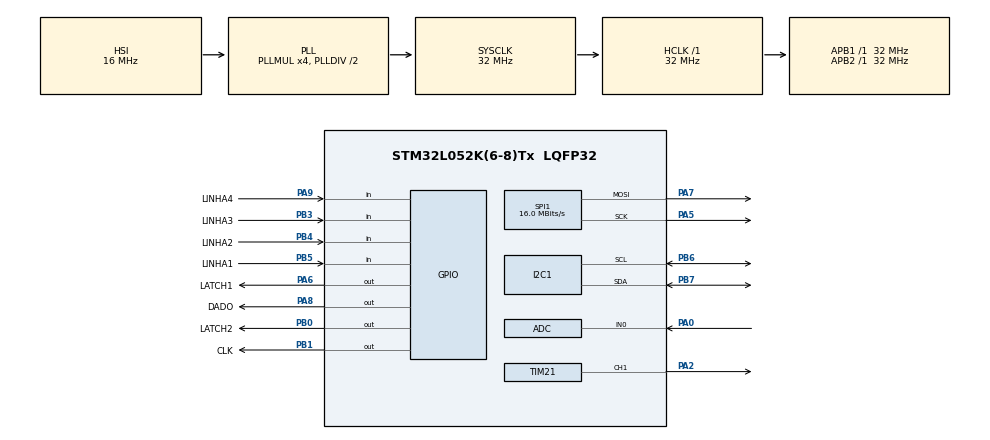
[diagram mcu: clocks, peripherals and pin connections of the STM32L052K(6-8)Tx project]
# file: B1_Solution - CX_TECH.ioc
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I2C1.Timing=0x00B07CB4
Mcu.Family=STM32L0
Mcu.Name=STM32L052K(6-8)Tx
Mcu.Package=LQFP32
PA0.Mode=IN0
PA0.Signal=ADC_IN0
PA2.Signal=S_TIM21_CH1
PA5.Mode=TX_Only_Simplex_Unidirect_Master
PA5.Signal=SPI1_SCK
PA6.GPIO_Label=LATCH1
PA6.Signal=GPIO_Output
PA7.Mode=TX_Only_Simplex_Unidirect_Master
PA7.Signal=SPI1_MOSI
PA8.GPIO_Label=DADO
PA8.Signal=GPIO_Output
PA9.GPIO_Label=LINHA4
PA9.Signal=GPIO_Input
PB0.GPIO_Label=LATCH2
PB0.Signal=GPIO_Output
PB1.GPIO_Label=CLK
PB1.Signal=GPIO_Output
PB3.GPIO_Label=LINHA3
PB3.Signal=GPIO_Input
PB4.GPIO_Label=LINHA2
PB4.Signal=GPIO_Input
PB5.GPIO_Label=LINHA1
PB5.Signal=GPIO_Input
PB6.Mode=I2C
PB6.Signal=I2C1_SCL
PB7.Mode=I2C
PB7.Signal=I2C1_SDA
ProjectManager.HeapSize=0x200
ProjectManager.StackSize=0x400
ProjectManager.TargetToolchain=STM32CubeIDE
RCC.AHBFreq_Value=32000000
RCC.APB1Freq_Value=32000000
RCC.APB1TimFreq_Value=32000000
RCC.APB2Freq_Value=32000000
RCC.APB2TimFreq_Value=32000000
RCC.HCLKFreq_Value=32000000
RCC.HSI16_VALUE=16000000
RCC.HSI48_VALUE=48000000
RCC.HSI_VALUE=16000000
RCC.LSE_VALUE=32768
RCC.MSI_VALUE=2097000
RCC.PLLMUL=RCC_PLLMUL_4
RCC.SYSCLKFreq_VALUE=32000000
RCC.SYSCLKSource=RCC_SYSCLKSOURCE_PLLCLK
RCC.VCOOutputFreq_Value=64000000
SH.S_TIM21_CH1.0=TIM21_CH1,PWM Generation1 CH1
SPI1.CalculateBaudRate=16.0 MBits/s
SPI1.Direction=SPI_DIRECTION_2LINES
SPI1.FirstBit=SPI_FIRSTBIT_LSB
SPI1.Mode=SPI_MODE_MASTER
SPI1.VirtualType=VM_MASTER
TIM21.AutoReloadPreload=TIM_AUTORELOAD_PRELOAD_ENABLE
TIM21.Channel-PWM\ Generation1\ CH1=TIM_CHANNEL_1
TIM21.Period=1000-1
TIM21.Prescaler=32-1
VP_TIM21_VS_ClockSourceINT.Mode=Internal
board=custom

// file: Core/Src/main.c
/* USER CODE BEGIN Header */
/**
 ******************************************************************************
 * @file           : main.c
 * @brief          : Main program body
 ******************************************************************************
 * @attention
 *
 * Copyright (c) 2026 STMicroelectronics.
 * All rights reserved.
 *
 * This software is licensed under terms that can be found in the LICENSE file
 * in the root directory of this software component.
 * If no LICENSE file comes with this software, it is provided AS-IS.
 *
 ******************************************************************************
 */
/* USER CODE END Header */
#include "main.h"
#include "adc.h"
#include "i2c.h"
#include "spi.h"
#include "tim.h"
#include "gpio.h"

/* USER CODE BEGIN Includes */

#include <lcd_panel.h>
#include <stdbool.h>
#include <stdio.h>

/* USER CODE END Includes */

/* USER CODE BEGIN PTD */

typedef struct {

	bool but[16];
	int pot;
} in_t;

typedef struct {

	uint8_t lobat[4];
	uint8_t col[4];
} out_t;

typedef struct {

} logic_t;

/* USER CODE END PTD */

/* USER CODE BEGIN PV */

in_t in;
out_t out;
logic_t logic;

/* USER CODE END PV */

void SystemClock_Config(void);

/* USER CODE BEGIN 0 */

float map(float in_x, float in_min, float in_max, float out_min, float out_max) {

	return (out_min
			+ (((in_x - in_min) / (in_max - in_min)) * (out_max - out_min)));
}

void set_freq(uint32_t freq, uint32_t duty) {

	uint32_t presc = 1000000;
	uint32_t ncountperiod = (presc / freq) - 1;
	uint32_t nduty = (ncountperiod * duty) / 100;

	__HAL_TIM_SET_AUTORELOAD(&htim21, ncountperiod);
	__HAL_TIM_SET_COMPARE(&htim21, TIM_CHANNEL_1, nduty);
}

void spi_t595(uint8_t data[4]) {

	HAL_SPI_Transmit(&hspi1, data, 4, 100);
}

void latch_c() {

	HAL_GPIO_WritePin(LATCH1_GPIO_Port, LATCH1_Pin, 0);
	HAL_GPIO_WritePin(LATCH1_GPIO_Port, LATCH1_Pin, 1);
	HAL_GPIO_WritePin(LATCH1_GPIO_Port, LATCH1_Pin, 0);
}

void set_595(uint8_t dado) {
	HAL_GPIO_WritePin(LATCH2_GPIO_Port, LATCH2_Pin, 0);
	HAL_GPIO_WritePin(CLK_GPIO_Port, CLK_Pin, 0);

	for (uint8_t i = 0; i < 8; i++) {

		HAL_GPIO_WritePin(DADO_GPIO_Port, DADO_Pin, (dado >> i) & 0x01);

		HAL_GPIO_WritePin(CLK_GPIO_Port, CLK_Pin, 1);
		HAL_GPIO_WritePin(CLK_GPIO_Port, CLK_Pin, 0);

	}
	HAL_GPIO_WritePin(LATCH2_GPIO_Port, LATCH2_Pin, 1);
	HAL_GPIO_WritePin(LATCH2_GPIO_Port, LATCH2_Pin, 0);

}

void but_matriz(bool but[16]) {

	set_595(0x80);
	in.but[0] = HAL_GPIO_ReadPin(LINHA1_GPIO_Port, LINHA1_Pin);
	in.but[1] = HAL_GPIO_ReadPin(LINHA2_GPIO_Port, LINHA2_Pin);
	in.but[2] = HAL_GPIO_ReadPin(LINHA3_GPIO_Port, LINHA3_Pin);
	in.but[3] = HAL_GPIO_ReadPin(LINHA4_GPIO_Port, LINHA4_Pin);

	set_595(0x40);
	in.but[4] = HAL_GPIO_ReadPin(LINHA1_GPIO_Port, LINHA1_Pin);
	in.but[5] = HAL_GPIO_ReadPin(LINHA2_GPIO_Port, LINHA2_Pin);
	in.but[6] = HAL_GPIO_ReadPin(LINHA3_GPIO_Port, LINHA3_Pin);
	in.but[7] = HAL_GPIO_ReadPin(LINHA4_GPIO_Port, LINHA4_Pin);

	set_595(0x20);
	in.but[8] = HAL_GPIO_ReadPin(LINHA1_GPIO_Port, LINHA1_Pin);
	in.but[9] = HAL_GPIO_ReadPin(LINHA2_GPIO_Port, LINHA2_Pin);
	in.but[10] = HAL_GPIO_ReadPin(LINHA3_GPIO_Port, LINHA3_Pin);
	in.but[11] = HAL_GPIO_ReadPin(LINHA4_GPIO_Port, LINHA4_Pin);

	set_595(0x10);
	in.but[12] = HAL_GPIO_ReadPin(LINHA1_GPIO_Port, LINHA1_Pin);
	in.but[13] = HAL_GPIO_ReadPin(LINHA2_GPIO_Port, LINHA2_Pin);
	in.but[14] = HAL_GPIO_ReadPin(LINHA3_GPIO_Port, LINHA3_Pin);
	in.but[15] = HAL_GPIO_ReadPin(LINHA4_GPIO_Port, LINHA4_Pin);
}

void task() {

	HAL_ADC_Start(&hadc);
	HAL_ADC_PollForConversion(&hadc, 10);
	in.pot = map(HAL_ADC_GetValue(&hadc), 0, 4095, 0, 1000);
	HAL_ADC_Stop(&hadc);

	if (in.pot < 19) {

		in.pot = 0;
	}

	but_matriz(in.but);

	if (in.but[12] || in.but[9]) {

		out.col[3] |= out.lobat[3];
	}

	if (in.but[6] || in.but[3]) {

		out.col[3] = 0x02;
	}

	spi_t595(out.col);

	latch_c();

	WriteInt_Display(in.pot);
}

/* USER CODE END 0 */

int main(void) {

	/* MCU Configuration--------------------------------------------------------*/

	/* Reset of all peripherals, Initializes the Flash interface and the Systick. */
	HAL_Init();

	/* Configure the system clock */
	SystemClock_Config();

	/* Initialize all configured peripherals */
	MX_GPIO_Init();
	MX_ADC_Init();
	MX_I2C1_Init();
	MX_SPI1_Init();
	MX_TIM21_Init();
	/* USER CODE BEGIN 2 */

	HAL_TIM_PWM_Start(&htim21, TIM_CHANNEL_1);

	out.col[3] = 0x02;
	out.lobat[3] = 0x40;

	set_freq(261, 50);
	 HAL_Delay(1000);
	 set_freq(293, 50);
	 HAL_Delay(1000);
	 set_freq(329, 50);
	 HAL_Delay(1500);
	 set_freq(370, 50);
	 HAL_Delay(2000);
	 set_freq(415, 50);
	 HAL_Delay(1000);
	 set_freq(370, 50);
	 HAL_Delay(2000);
	 set_freq(293, 50);
	 HAL_Delay(1000);
	 set_freq(415, 50);
	 HAL_Delay(1000);
	 __HAL_TIM_SET_COMPARE(&htim21, TIM_CHANNEL_1, 0);

	spi_t595(out.col);
	latch_c();

	/* USER CODE END 2 */

	/* Infinite loop */
	/* USER CODE BEGIN WHILE */
	while (1) {

		task();

		/* USER CODE END WHILE */

	}
}

void SystemClock_Config(void) {
	RCC_OscInitTypeDef RCC_OscInitStruct = { 0 };
	RCC_ClkInitTypeDef RCC_ClkInitStruct = { 0 };
	RCC_PeriphCLKInitTypeDef PeriphClkInit = { 0 };

	/** Configure the main internal regulator output voltage
	 */
	__HAL_PWR_VOLTAGESCALING_CONFIG(PWR_REGULATOR_VOLTAGE_SCALE1);

	/** Initializes the RCC Oscillators according to the specified parameters
	 * in the RCC_OscInitTypeDef structure.
	 */
	RCC_OscInitStruct.OscillatorType = RCC_OSCILLATORTYPE_HSI;
	RCC_OscInitStruct.HSIState = RCC_HSI_ON;
	RCC_OscInitStruct.HSICalibrationValue = RCC_HSICALIBRATION_DEFAULT;
	RCC_OscInitStruct.PLL.PLLState = RCC_PLL_ON;
	RCC_OscInitStruct.PLL.PLLSource = RCC_PLLSOURCE_HSI;
	RCC_OscInitStruct.PLL.PLLMUL = RCC_PLLMUL_4;
	RCC_OscInitStruct.PLL.PLLDIV = RCC_PLLDIV_2;
	if (HAL_RCC_OscConfig(&RCC_OscInitStruct) != HAL_OK) {
		Error_Handler();
	}

	/** Initializes the CPU, AHB and APB buses clocks
	 */
	RCC_ClkInitStruct.ClockType = RCC_CLOCKTYPE_HCLK | RCC_CLOCKTYPE_SYSCLK
			| RCC_CLOCKTYPE_PCLK1 | RCC_CLOCKTYPE_PCLK2;
	RCC_ClkInitStruct.SYSCLKSource = RCC_SYSCLKSOURCE_PLLCLK;
	RCC_ClkInitStruct.AHBCLKDivider = RCC_SYSCLK_DIV1;
	RCC_ClkInitStruct.APB1CLKDivider = RCC_HCLK_DIV1;
	RCC_ClkInitStruct.APB2CLKDivider = RCC_HCLK_DIV1;

	if (HAL_RCC_ClockConfig(&RCC_ClkInitStruct, FLASH_LATENCY_1) != HAL_OK) {
		Error_Handler();
	}
	PeriphClkInit.PeriphClockSelection = RCC_PERIPHCLK_I2C1;
	PeriphClkInit.I2c1ClockSelection = RCC_I2C1CLKSOURCE_PCLK1;
	if (HAL_RCCEx_PeriphCLKConfig(&PeriphClkInit) != HAL_OK) {
		Error_Handler();
	}
}

void Error_Handler(void) {
	__disable_irq();
	while (1) {
	}
}
